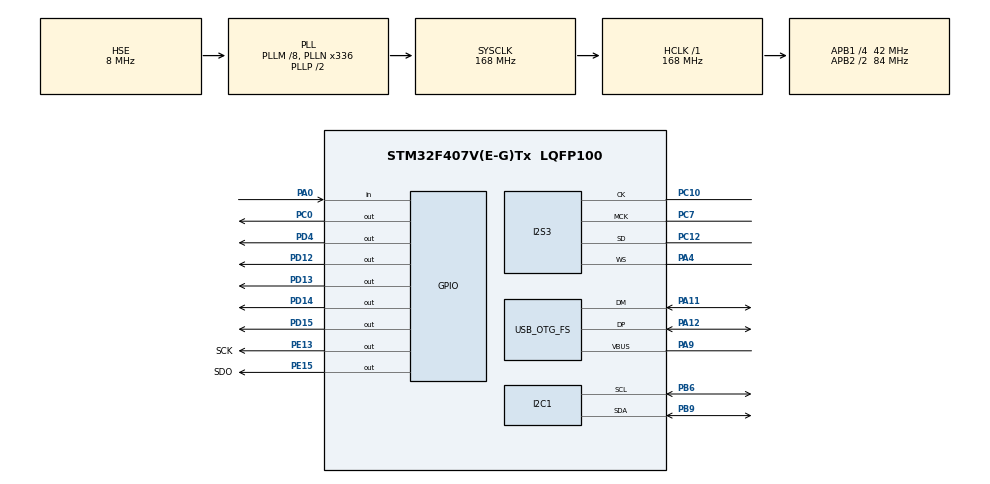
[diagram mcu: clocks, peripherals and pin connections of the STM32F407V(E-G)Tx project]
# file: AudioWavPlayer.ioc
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Dma.Request0=SPI3_TX
Dma.SPI3_TX.0.Direction=DMA_MEMORY_TO_PERIPH
Dma.SPI3_TX.0.FIFOMode=DMA_FIFOMODE_ENABLE
Dma.SPI3_TX.0.FIFOThreshold=DMA_FIFO_THRESHOLD_FULL
Dma.SPI3_TX.0.Instance=DMA1_Stream5
Dma.SPI3_TX.0.MemBurst=DMA_MBURST_SINGLE
Dma.SPI3_TX.0.MemDataAlignment=DMA_MDATAALIGN_HALFWORD
Dma.SPI3_TX.0.MemInc=DMA_MINC_ENABLE
Dma.SPI3_TX.0.Mode=DMA_CIRCULAR
Dma.SPI3_TX.0.PeriphBurst=DMA_PBURST_SINGLE
Dma.SPI3_TX.0.PeriphDataAlignment=DMA_PDATAALIGN_HALFWORD
Dma.SPI3_TX.0.PeriphInc=DMA_PINC_DISABLE
Dma.SPI3_TX.0.Priority=DMA_PRIORITY_LOW
FATFS._USE_FIND=1
FATFS._USE_LFN=1
I2S3.AudioFreq=I2S_AUDIOFREQ_48K
I2S3.ErrorAudioFreq=-2.0 %
I2S3.FullDuplexMode=I2S_FULLDUPLEXMODE_DISABLE
I2S3.Instance=SPI$Index
I2S3.RealAudioFreq=47.037 KHz
I2S3.VirtualMode=I2S_MODE_MASTER
Mcu.Family=STM32F4
Mcu.Name=STM32F407V(E-G)Tx
Mcu.Package=LQFP100
NVIC.DMA1_Stream5_IRQn=true\:0\:0\:false\:false\:true\:false\:true\:true
NVIC.OTG_FS_IRQn=true\:0\:0\:false\:false\:true\:true\:true\:true
NVIC.PriorityGroup=NVIC_PRIORITYGROUP_0
NVIC.TIM6_DAC_IRQn=true\:0\:0\:false\:false\:true\:true\:true\:true
NVIC.TIM7_IRQn=true\:0\:0\:false\:false\:true\:true\:true\:true
PA0-WKUP.Signal=GPIO_Input
PA11.Mode=Host_Only
PA11.Signal=USB_OTG_FS_DM
PA12.Mode=Host_Only
PA12.Signal=USB_OTG_FS_DP
PA4.Mode=Half_Duplex_Master
PA4.Signal=I2S3_WS
PA9.Mode=Activate_VBUS
PA9.Signal=USB_OTG_FS_VBUS
PB6.Mode=I2C
PB6.Signal=I2C1_SCL
PB9.Mode=I2C
PB9.Signal=I2C1_SDA
PC0.Signal=GPIO_Output
PC10.Mode=Half_Duplex_Master
PC10.Signal=I2S3_CK
PC12.Mode=Half_Duplex_Master
PC12.Signal=I2S3_SD
PC7.Mode=Master_Clock_Activated
PC7.Signal=I2S3_MCK
PD12.Signal=GPIO_Output
PD13.Signal=GPIO_Output
PD14.Signal=GPIO_Output
PD15.Signal=GPIO_Output
PD4.Signal=GPIO_Output
PE13.GPIO_Label=SCK
PE13.Signal=GPIO_Output
PE15.GPIO_Label=SDO
PE15.Signal=GPIO_Output
PH0-OSC_IN.Mode=HSE-External-Oscillator
PH0-OSC_IN.Signal=RCC_OSC_IN
PH1-OSC_OUT.Mode=HSE-External-Oscillator
PH1-OSC_OUT.Signal=RCC_OSC_OUT
ProjectManager.HeapSize=0x2000
ProjectManager.StackSize=0x2000
ProjectManager.TargetToolchain=MDK-ARM V5.32
RCC.48MHZClocksFreq_Value=48000000
RCC.AHBFreq_Value=168000000
RCC.APB1CLKDivider=RCC_HCLK_DIV4
RCC.APB1Freq_Value=42000000
RCC.APB1TimFreq_Value=84000000
RCC.APB2CLKDivider=RCC_HCLK_DIV2
RCC.APB2Freq_Value=84000000
RCC.APB2TimFreq_Value=168000000
RCC.CortexFreq_Value=168000000
RCC.HCLKFreq_Value=168000000
RCC.HSE_VALUE=8000000
RCC.HSI_VALUE=16000000
RCC.LSE_VALUE=32768
RCC.PLLI2SN=289
RCC.PLLI2SR=6
RCC.PLLM=8
RCC.PLLN=336
RCC.PLLQ=7
RCC.SYSCLKFreq_VALUE=168000000
RCC.SYSCLKSource=RCC_SYSCLKSOURCE_PLLCLK
RCC.VCOOutputFreq_Value=336000000
TIM6.Prescaler=159
TIM7.Prescaler=107
USB_HOST.BSP.number=1
USB_HOST.USBH_HandleTypeDef-MSC_FS=hUsbHostFS
USB_HOST.VirtualModeFS=Msc
USB_HOST0.BSP.STBoard=false
USB_HOST0.BSP.api=Unknown
USB_HOST0.BSP.instance=PC0
USB_HOST0.BSP.ip=GPIO
USB_HOST0.BSP.mode=Output
USB_HOST0.BSP.name=Drive_VBUS_FS
USB_HOST0.BSP.solution=PC0
USB_OTG_FS.VirtualMode=Host_Only
USB_OTG_FS.phy_itface=HCD_PHY_EMBEDDED
VP_FATFS_VS_USB.Mode=USB
VP_TIM6_VS_ClockSourceINT.Mode=Enable_Timer
VP_TIM7_VS_ClockSourceINT.Mode=Enable_Timer
VP_USB_HOST_VS_USB_HOST_MSC_FS.Mode=MSC_FS
board=STM32F407G-DISC1

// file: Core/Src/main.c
/* USER CODE BEGIN Header */
/**
  ******************************************************************************
  * @file           : main.c
  * @brief          : Main program body
  ******************************************************************************
  * @attention
  *
  * Copyright (c) 2024 STMicroelectronics.
  * All rights reserved.
  *
  * This software is licensed under terms that can be found in the LICENSE file
  * in the root directory of this software component.
  * If no LICENSE file comes with this software, it is provided AS-IS.
  *
  ******************************************************************************
  */
/* USER CODE END Header */
#include "main.h"
#include "fatfs.h"
#include "usb_host.h"

/* USER CODE BEGIN Includes */
#include "audioI2S.h"
#include "MY_CS43L22.h"
#include "wav_player.h"
#include "musical_bridge.h"
#include "text_parser.h"
#include "songs.h"

/* USER CODE END Includes */

/* USER CODE BEGIN PTD */
extern ApplicationTypeDef Appli_state;
extern char** wavListBuff;
extern int num_of_songs;
extern int songIndex;
extern FIL fp;
extern char tmpBuffOne[120];
/* USER CODE END PTD */

I2C_HandleTypeDef hi2c1;

I2S_HandleTypeDef hi2s3;
DMA_HandleTypeDef hdma_spi3_tx;

TIM_HandleTypeDef htim6;
TIM_HandleTypeDef htim7;

/* USER CODE BEGIN PV */
bool pauseResumeToggle=0;
PLAY_State_e playerState = PLAY_Init;
/* USER CODE END PV */

void SystemClock_Config(void);
static void MX_GPIO_Init(void);
static void MX_DMA_Init(void);
static void MX_I2C1_Init(void);
static void MX_I2S3_Init(void);
static void MX_TIM7_Init(void);
static void MX_TIM6_Init(void);
void MX_USB_HOST_Process(void);

int main(void)
{

  /* MCU Configuration--------------------------------------------------------*/

  /* Reset of all peripherals, Initializes the Flash interface and the Systick. */
  HAL_Init();

  /* Configure the system clock */
  SystemClock_Config();

  /* Initialize all configured peripherals */
  MX_GPIO_Init();
  MX_DMA_Init();
  MX_I2C1_Init();
  MX_I2S3_Init();
  MX_FATFS_Init();
  MX_USB_HOST_Init();
  MX_TIM7_Init();
  MX_TIM6_Init();
  /* USER CODE BEGIN 2 */
  CS43_Init(hi2c1, MODE_I2S);
  CS43_SetVolume(230);//0-255
  CS43_Enable_RightLeft(CS43_RIGHT_LEFT);
  audioI2S_setHandle(&hi2s3);

	//Clear LED Strip
	clearStrip();
	seeFrames();

  /* USER CODE END 2 */

  /* Infinite loop */
  while (1)
  {
    MX_USB_HOST_Process();

    /* USER CODE BEGIN 3 */
		if(Appli_state == APPLICATION_START)
    {
      HAL_GPIO_WritePin(GPIOD, GPIO_PIN_12, GPIO_PIN_SET);
    }
    else if(Appli_state == APPLICATION_DISCONNECT)
    {
      HAL_GPIO_WritePin(GPIOD, GPIO_PIN_12, GPIO_PIN_RESET);
      f_mount(NULL, (TCHAR const*)"", 0);
			wavPlayer_stop();
			playerState = PLAY_Init;
			clearStrip();
			seeFrames();
    }

    if(Appli_state == APPLICATION_READY)
    {
      if(true)
      {
        f_mount(&USBHFatFS, (const TCHAR*)USBHPath, 0);
				getNumOfWavs();
				getAllWav(num_of_songs);
				playerState = PLAY_Ready;
      }
      if(playerState == PLAY_Ready)
      {
        HAL_GPIO_WritePin(GPIOD, GPIO_PIN_13, GPIO_PIN_SET);
        HAL_Delay(500);

				openTextFile(staticTextArr[songIndex]);

				if(wavPlayer_fileSelect(staticSongArr[songIndex]) == false) {
					clearStrip();
					while(1) {}
				}

				HAL_TIM_Base_Start_IT(&htim7);
        wavPlayer_play();

				playerState = PLAY_Playing;

        while(!wavPlayer_isFinished())
        {
          wavPlayer_process();
					parseTextFile(staticTextArr[songIndex]);

          if(HAL_GPIO_ReadPin(GPIOA, GPIO_PIN_0))
          {
            pauseResumeToggle^=1;
            if(pauseResumeToggle)
            {
							//PAUSE
              HAL_GPIO_WritePin(GPIOD, GPIO_PIN_14, GPIO_PIN_SET);
              wavPlayer_pause();
							HAL_TIM_Base_Stop_IT(&htim7);
							clearStrip();
							seeFrames();
							playerState = PLAY_Pause;
              HAL_Delay(200);
            }
            else
            {
							//SKIP
              HAL_GPIO_WritePin(GPIOD, GPIO_PIN_14, GPIO_PIN_RESET);
              HAL_Delay(1000);
							if(HAL_GPIO_ReadPin(GPIOA, GPIO_PIN_0)) {
								clearStrip();
								seeFrames();
								wavPlayer_stop();
								HAL_TIM_Base_Stop_IT(&htim7);
								playerState = PLAY_Next;
							} else {
								//RESUME
								clearStrip();
								wavPlayer_resume();
								HAL_TIM_Base_Start_IT(&htim7);
								playerState = PLAY_Playing;
							}
            }
          }
        }
				wavPlayer_stop();
				HAL_TIM_Base_Stop_IT(&htim7);
				clearStrip();
				seeFrames();
				HAL_GPIO_WritePin(GPIOD, GPIO_PIN_13, GPIO_PIN_RESET);
				HAL_Delay(1000);
				playerState = PLAY_Next;
			}
			if(playerState == PLAY_Next) {
				songIndex = (songIndex + 1) % NUM_OF_SONGS;
				playerState = PLAY_Ready;
			}
    }
  }
  /* USER CODE END 3 */
}

void SystemClock_Config(void)
{
  RCC_OscInitTypeDef RCC_OscInitStruct = {0};
  RCC_ClkInitTypeDef RCC_ClkInitStruct = {0};

  /** Configure the main internal regulator output voltage
  */
  __HAL_RCC_PWR_CLK_ENABLE();
  __HAL_PWR_VOLTAGESCALING_CONFIG(PWR_REGULATOR_VOLTAGE_SCALE1);

  /** Initializes the RCC Oscillators according to the specified parameters
  * in the RCC_OscInitTypeDef structure.
  */
  RCC_OscInitStruct.OscillatorType = RCC_OSCILLATORTYPE_HSE;
  RCC_OscInitStruct.HSEState = RCC_HSE_ON;
  RCC_OscInitStruct.PLL.PLLState = RCC_PLL_ON;
  RCC_OscInitStruct.PLL.PLLSource = RCC_PLLSOURCE_HSE;
  RCC_OscInitStruct.PLL.PLLM = 8;
  RCC_OscInitStruct.PLL.PLLN = 336;
  RCC_OscInitStruct.PLL.PLLP = RCC_PLLP_DIV2;
  RCC_OscInitStruct.PLL.PLLQ = 7;
  if (HAL_RCC_OscConfig(&RCC_OscInitStruct) != HAL_OK)
  {
    Error_Handler();
  }

  /** Initializes the CPU, AHB and APB buses clocks
  */
  RCC_ClkInitStruct.ClockType = RCC_CLOCKTYPE_HCLK|RCC_CLOCKTYPE_SYSCLK
                              |RCC_CLOCKTYPE_PCLK1|RCC_CLOCKTYPE_PCLK2;
  RCC_ClkInitStruct.SYSCLKSource = RCC_SYSCLKSOURCE_PLLCLK;
  RCC_ClkInitStruct.AHBCLKDivider = RCC_SYSCLK_DIV1;
  RCC_ClkInitStruct.APB1CLKDivider = RCC_HCLK_DIV4;
  RCC_ClkInitStruct.APB2CLKDivider = RCC_HCLK_DIV2;

  if (HAL_RCC_ClockConfig(&RCC_ClkInitStruct, FLASH_LATENCY_5) != HAL_OK)
  {
    Error_Handler();
  }
}

static void MX_I2C1_Init(void)
{

  hi2c1.Instance = I2C1;
  hi2c1.Init.ClockSpeed = 100000;
  hi2c1.Init.DutyCycle = I2C_DUTYCYCLE_2;
  hi2c1.Init.OwnAddress1 = 0;
  hi2c1.Init.AddressingMode = I2C_ADDRESSINGMODE_7BIT;
  hi2c1.Init.DualAddressMode = I2C_DUALADDRESS_DISABLE;
  hi2c1.Init.OwnAddress2 = 0;
  hi2c1.Init.GeneralCallMode = I2C_GENERALCALL_DISABLE;
  hi2c1.Init.NoStretchMode = I2C_NOSTRETCH_DISABLE;
  if (HAL_I2C_Init(&hi2c1) != HAL_OK)
  {
    Error_Handler();
  }

}

static void MX_I2S3_Init(void)
{

  hi2s3.Instance = SPI3;
  hi2s3.Init.Mode = I2S_MODE_MASTER_TX;
  hi2s3.Init.Standard = I2S_STANDARD_PHILIPS;
  hi2s3.Init.DataFormat = I2S_DATAFORMAT_16B;
  hi2s3.Init.MCLKOutput = I2S_MCLKOUTPUT_ENABLE;
  hi2s3.Init.AudioFreq = I2S_AUDIOFREQ_48K;
  hi2s3.Init.CPOL = I2S_CPOL_LOW;
  hi2s3.Init.ClockSource = I2S_CLOCK_PLL;
  hi2s3.Init.FullDuplexMode = I2S_FULLDUPLEXMODE_DISABLE;
  if (HAL_I2S_Init(&hi2s3) != HAL_OK)
  {
    Error_Handler();
  }

}

static void MX_TIM6_Init(void)
{

  TIM_MasterConfigTypeDef sMasterConfig = {0};

  htim6.Instance = TIM6;
  htim6.Init.Prescaler = 159;
  htim6.Init.CounterMode = TIM_COUNTERMODE_UP;
  htim6.Init.Period = 65535;
  htim6.Init.AutoReloadPreload = TIM_AUTORELOAD_PRELOAD_DISABLE;
  if (HAL_TIM_Base_Init(&htim6) != HAL_OK)
  {
    Error_Handler();
  }
  sMasterConfig.MasterOutputTrigger = TIM_TRGO_RESET;
  sMasterConfig.MasterSlaveMode = TIM_MASTERSLAVEMODE_DISABLE;
  if (HAL_TIMEx_MasterConfigSynchronization(&htim6, &sMasterConfig) != HAL_OK)
  {
    Error_Handler();
  }

}

static void MX_TIM7_Init(void)
{

  TIM_MasterConfigTypeDef sMasterConfig = {0};

  htim7.Instance = TIM7;
  htim7.Init.Prescaler = 107;
  htim7.Init.CounterMode = TIM_COUNTERMODE_UP;
  htim7.Init.Period = 65535;
  htim7.Init.AutoReloadPreload = TIM_AUTORELOAD_PRELOAD_DISABLE;
  if (HAL_TIM_Base_Init(&htim7) != HAL_OK)
  {
    Error_Handler();
  }
  sMasterConfig.MasterOutputTrigger = TIM_TRGO_RESET;
  sMasterConfig.MasterSlaveMode = TIM_MASTERSLAVEMODE_DISABLE;
  if (HAL_TIMEx_MasterConfigSynchronization(&htim7, &sMasterConfig) != HAL_OK)
  {
    Error_Handler();
  }

}

static void MX_DMA_Init(void)
{

  /* DMA controller clock enable */
  __HAL_RCC_DMA1_CLK_ENABLE();

  /* DMA interrupt init */
  /* DMA1_Stream5_IRQn interrupt configuration */
  HAL_NVIC_SetPriority(DMA1_Stream5_IRQn, 0, 0);
  HAL_NVIC_EnableIRQ(DMA1_Stream5_IRQn);

}

static void MX_GPIO_Init(void)
{
  GPIO_InitTypeDef GPIO_InitStruct = {0};

  /* GPIO Ports Clock Enable */
  __HAL_RCC_GPIOH_CLK_ENABLE();
  __HAL_RCC_GPIOC_CLK_ENABLE();
  __HAL_RCC_GPIOA_CLK_ENABLE();
  __HAL_RCC_GPIOE_CLK_ENABLE();
  __HAL_RCC_GPIOD_CLK_ENABLE();
  __HAL_RCC_GPIOB_CLK_ENABLE();

  /*Configure GPIO pin Output Level */
  HAL_GPIO_WritePin(GPIOC, GPIO_PIN_0, GPIO_PIN_RESET);

  /*Configure GPIO pin Output Level */
  HAL_GPIO_WritePin(GPIOE, SCK_Pin|SDO_Pin, GPIO_PIN_RESET);

  /*Configure GPIO pin Output Level */
  HAL_GPIO_WritePin(GPIOD, GPIO_PIN_12|GPIO_PIN_13|GPIO_PIN_14|GPIO_PIN_15
                          |GPIO_PIN_4, GPIO_PIN_RESET);

  /*Configure GPIO pin : PC0 */
  GPIO_InitStruct.Pin = GPIO_PIN_0;
  GPIO_InitStruct.Mode = GPIO_MODE_OUTPUT_PP;
  GPIO_InitStruct.Pull = GPIO_NOPULL;
  GPIO_InitStruct.Speed = GPIO_SPEED_FREQ_LOW;
  HAL_GPIO_Init(GPIOC, &GPIO_InitStruct);

  /*Configure GPIO pin : PA0 */
  GPIO_InitStruct.Pin = GPIO_PIN_0;
  GPIO_InitStruct.Mode = GPIO_MODE_INPUT;
  GPIO_InitStruct.Pull = GPIO_NOPULL;
  HAL_GPIO_Init(GPIOA, &GPIO_InitStruct);

  /*Configure GPIO pins : SCK_Pin SDO_Pin */
  GPIO_InitStruct.Pin = SCK_Pin|SDO_Pin;
  GPIO_InitStruct.Mode = GPIO_MODE_OUTPUT_PP;
  GPIO_InitStruct.Pull = GPIO_NOPULL;
  GPIO_InitStruct.Speed = GPIO_SPEED_FREQ_LOW;
  HAL_GPIO_Init(GPIOE, &GPIO_InitStruct);

  /*Configure GPIO pins : PD12 PD13 PD14 PD15
                           PD4 */
  GPIO_InitStruct.Pin = GPIO_PIN_12|GPIO_PIN_13|GPIO_PIN_14|GPIO_PIN_15
                          |GPIO_PIN_4;
  GPIO_InitStruct.Mode = GPIO_MODE_OUTPUT_PP;
  GPIO_InitStruct.Pull = GPIO_NOPULL;
  GPIO_InitStruct.Speed = GPIO_SPEED_FREQ_LOW;
  HAL_GPIO_Init(GPIOD, &GPIO_InitStruct);

}

void Error_Handler(void)
{
  __disable_irq();
  while (1)
  {
  }
}
